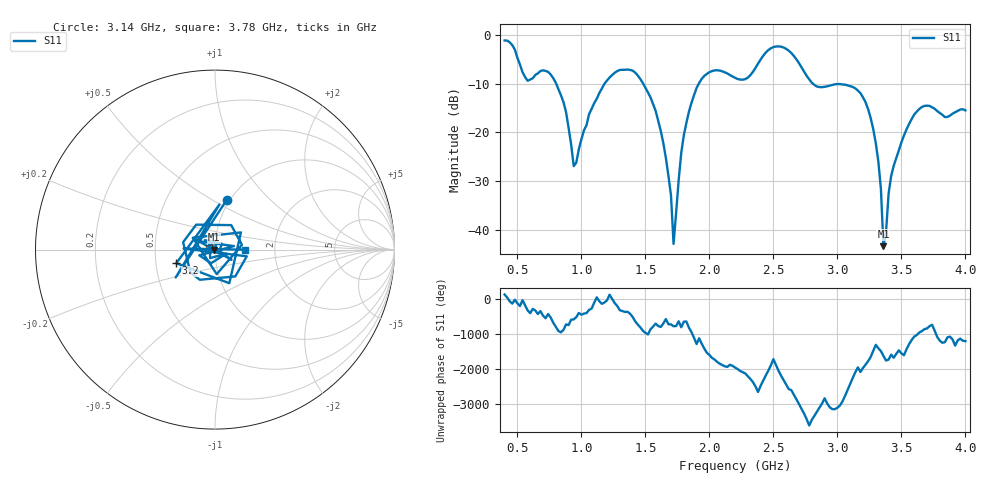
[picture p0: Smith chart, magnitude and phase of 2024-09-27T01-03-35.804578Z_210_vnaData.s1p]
!Created with skrf (http://scikit-rf.org).
# Hz S RI R 50.0
!freq ReS11 ImS11
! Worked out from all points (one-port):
!   181 points, 400 MHz to 4 GHz, reference 50 ohm
!   lowest |S11| = -43.3 dB at 3.36 GHz (marker M1), VSWR 1.01, Z = 49.3 + j0.00218 ohm
!   |S11| at or under -10 dB: 802.8 MHz to 1.181 GHz (377.8 MHz wide, 38.1 % of centre); 1.482 GHz to 1.917 GHz (435 MHz wide, 25.6 % of centre); 2.809 GHz to end of sweep
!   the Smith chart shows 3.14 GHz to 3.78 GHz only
!   S11 on the Smith chart (normalised r, x): 3.14 GHz: 0.97, +0.58; 3.2 GHz: 0.64, -0.10; 3.78 GHz: 1.40, -0.00
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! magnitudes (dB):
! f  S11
! 400 MHz  -1.2
! 580 MHz  -9.4
! 740 MHz  -7.6
! 860 MHz  -13.8
! 940 MHz  -26.9
! 1.1 GHz  -14.0
! 1.3 GHz  -7.2
! 1.44 GHz  -8.3
! 1.58 GHz  -15.6
! 1.68 GHz  -28.9
! 1.72 GHz  -42.8
! 1.76 GHz  -29.7
! 1.82 GHz  -18.1
! 1.92 GHz  -9.9
! 2.2 GHz  -8.8
! 2.5 GHz  -2.5
! 2.66 GHz  -4.4
! 2.84 GHz  -10.6
! 3.1 GHz  -10.5
! 3.14 GHz  -11.0
! 3.2 GHz  -12.8
! 3.32 GHz  -25.9
! 3.34 GHz  -31.6
! 3.36 GHz  -43.3
! 3.42 GHz  -28.9
! 3.56 GHz  -18.2
! 3.78 GHz  -15.6
! 4 GHz  -15.5
